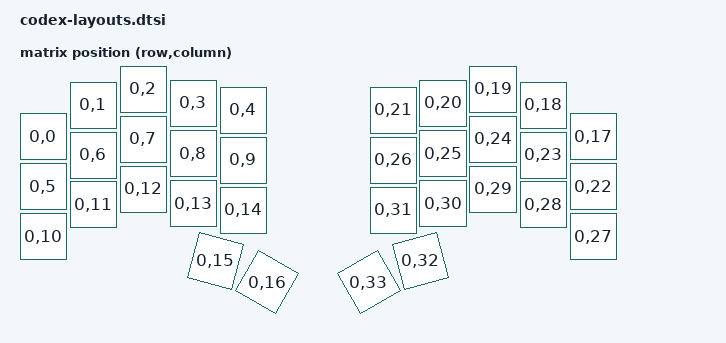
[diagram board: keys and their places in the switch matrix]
#include <dt-bindings/zmk/matrix_transform.h>
#include <physical_layouts.dtsi>

/ {
    chosen {
        zmk,physical-layout = &codex_physical_layout;
    };

    default_transform: keymap_transform_0 {
        compatible = "zmk,matrix-transform";
        columns = <34>;
        rows = <1>;
        map = <
        RC(0,0)  RC(0,1)  RC(0,2)  RC(0,3)  RC(0,4)    RC(0,21) RC(0,20) RC(0,19) RC(0,18) RC(0,17)
        RC(0,5)  RC(0,6)  RC(0,7)  RC(0,8)  RC(0,9)    RC(0,26) RC(0,25) RC(0,24) RC(0,23) RC(0,22)
        RC(0,10) RC(0,11) RC(0,12) RC(0,13) RC(0,14)   RC(0,31) RC(0,30) RC(0,29) RC(0,28) RC(0,27)
                                   RC(0,15) RC(0,16)   RC(0,33) RC(0,32)
        >;
    };

    codex_physical_layout: codex_physical_layout {
        compatible = "zmk,physical-layout";
        display-name = "CODEX";
        transform = <&default_transform>;

        keys  //                     w   h    x    y     rot    rx    ry
            = <&key_physical_attrs 100 100    0   95       0     0     0>
            , <&key_physical_attrs 100 100  100   32       0     0     0>
            , <&key_physical_attrs 100 100  200    0       0     0     0>
            , <&key_physical_attrs 100 100  300   28       0     0     0>
            , <&key_physical_attrs 100 100  400   42       0     0     0>
            , <&key_physical_attrs 100 100  700   42       0     0     0>
            , <&key_physical_attrs 100 100  800   28       0     0     0>
            , <&key_physical_attrs 100 100  900    0       0     0     0>
            , <&key_physical_attrs 100 100 1000   32       0     0     0>
            , <&key_physical_attrs 100 100 1100   95       0     0     0>
            , <&key_physical_attrs 100 100    0  195       0     0     0>
            , <&key_physical_attrs 100 100  100  132       0     0     0>
            , <&key_physical_attrs 100 100  200  100       0     0     0>
            , <&key_physical_attrs 100 100  300  129       0     0     0>
            , <&key_physical_attrs 100 100  400  142       0     0     0>
            , <&key_physical_attrs 100 100  700  142       0     0     0>
            , <&key_physical_attrs 100 100  800  129       0     0     0>
            , <&key_physical_attrs 100 100  900  100       0     0     0>
            , <&key_physical_attrs 100 100 1000  132       0     0     0>
            , <&key_physical_attrs 100 100 1100  195       0     0     0>
            , <&key_physical_attrs 100 100    0  295       0     0     0>
            , <&key_physical_attrs 100 100  100  231       0     0     0>
            , <&key_physical_attrs 100 100  200  200       0     0     0>
            , <&key_physical_attrs 100 100  300  229       0     0     0>
            , <&key_physical_attrs 100 100  400  242       0     0     0>
            , <&key_physical_attrs 100 100  700  242       0     0     0>
            , <&key_physical_attrs 100 100  800  229       0     0     0>
            , <&key_physical_attrs 100 100  900  200       0     0     0>
            , <&key_physical_attrs 100 100 1000  231       0     0     0>
            , <&key_physical_attrs 100 100 1100  295       0     0     0>
            , <&key_physical_attrs 100 100  330  355    1500   430   455>
            , <&key_physical_attrs 100 100  430  355    3000   430   455>
            , <&key_physical_attrs 100 100  670  355 (-3000)   770   455>
            , <&key_physical_attrs 100 100  770  355 (-1500)   770   455>
            ;
    };
};
